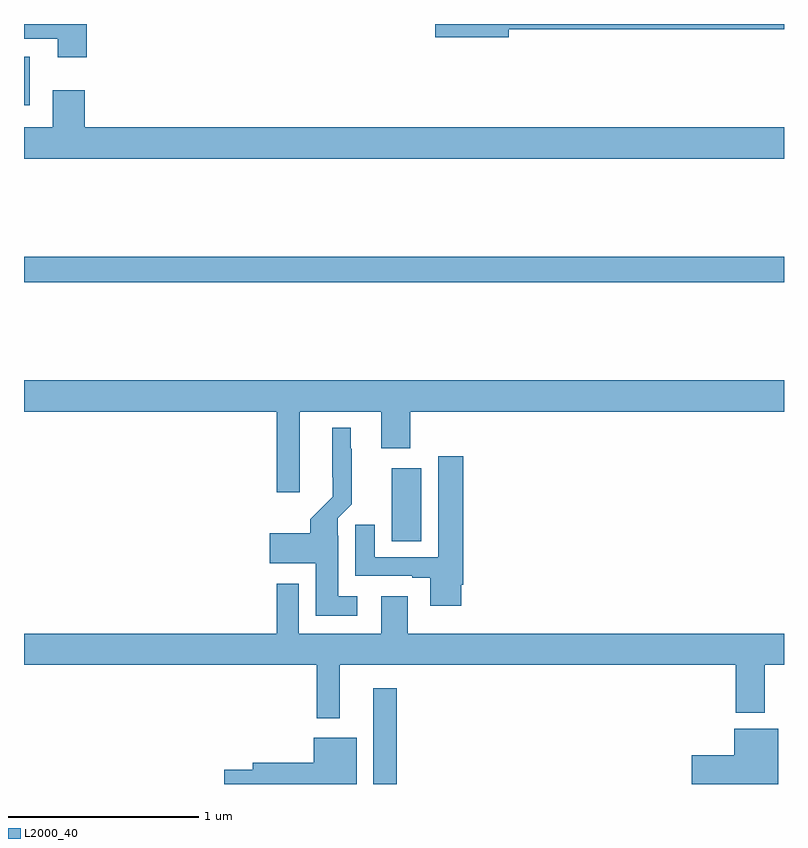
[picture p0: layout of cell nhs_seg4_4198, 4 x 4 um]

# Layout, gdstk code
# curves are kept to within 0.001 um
import gdstk
lib = gdstk.Library(unit=1e-6, precision=1e-09)
def R(c, l, rs):  # rectangles x0, y0, x1, y1
    for r in rs: c.add(gdstk.rectangle(r[:2], r[2:], *l))
def P(c, l, *ps):  # polygons
    for p in ps: c.add(gdstk.Polygon(p, *l))
L2000_40 = (2000, 40)

nhs_seg4_4198 = lib.new_cell('nhs_seg4_4198')
R(nhs_seg4_4198, L2000_40, [(336.839,754.9,336.961,755.404), (336.935,756.178,337.09,756.562), (335,757.54,339,757.676), (335,758.472,335.029,758.727)])
P(nhs_seg4_4198, L2000_40, [(335.33,758.9),(335,758.9),(335,758.823),(335.177,758.823),(335.177,758.724),(335.33,758.724)],
  [(337.552,758.872),(339,758.872),(339,758.9),(337.164,758.9),(337.164,758.83),(337.552,758.83)],
  [(339,758.356),(335.321,758.356),(335.321,758.551),(335.15,758.551),(335.15,758.356),(335,758.356),(335,758.192),(339,758.192)],
  [(336.451,756.86),(336.881,756.86),(336.881,756.666),(337.034,756.666),(337.034,756.86),(339,756.86),(339,757.024),(335,757.024),(335,756.86),(336.329,756.86),(336.329,756.435),(336.451,756.435)],
  [(336.754,755.887),(336.655,755.887),(336.655,756.206),(336.651,756.206),(336.651,756.3),(336.724,756.373),(336.724,756.665),(336.721,756.665),(336.721,756.775),(336.623,756.775),(336.624,756.412),(336.506,756.294),(336.506,756.22),(336.294,756.22),(336.294,756.062),(336.536,756.062),(336.536,755.786),(336.754,755.786)],
  [(337.3,755.95),(337.313,755.95),(337.313,756.625),(337.181,756.625),(337.181,756.093),(336.847,756.093),(336.847,756.265),(336.743,756.265),(336.743,755.997),(337.043,755.997),(337.043,755.985),(337.139,755.985),(337.139,755.838),(337.3,755.838)],
  [(336.661,755.528),(338.747,755.528),(338.747,755.276),(338.899,755.276),(338.899,755.528),(339,755.528),(339,755.692),(337.021,755.692),(337.021,755.887),(336.881,755.887),(336.881,755.692),(336.447,755.692),(336.447,755.953),(336.331,755.953),(336.331,755.692),(335,755.692),(335,755.528),(336.54,755.528),(336.54,755.247),(336.661,755.247)],
  [(338.971,755.191),(338.738,755.191),(338.738,755.052),(338.514,755.052),(338.514,754.9),(338.971,754.9)],
  [(336.751,755.143),(336.524,755.143),(336.524,755.011),(336.203,755.011),(336.203,754.976),(336.054,754.976),(336.054,754.9),(336.751,754.9)])

lib.write_gds('nhs_seg4_4198.gds')
